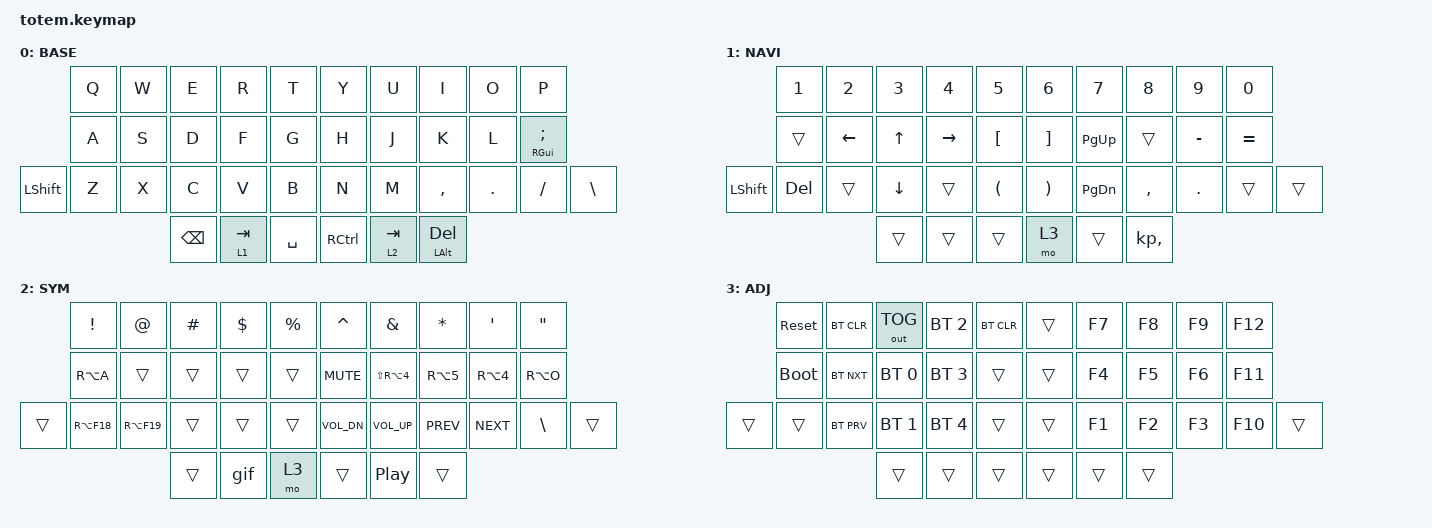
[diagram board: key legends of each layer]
//
//                                                        ▀▀▀▀▀     ▀▀▀▀▀          ▀▀█▀▀
//                                                        ▄▀▀▀▄  ▄  ▄▀▀▀▄  ▄  ▄▀▀▀▄  █  ▄▀▀▀▄
//                                                        █   █  █  █   █  █  █   █  █  █   █
//                                                         ▀▀▀   █   ▀▀▀   █   ▀▀▀   ▀   ▀▀▀
//                                                               █      ▄▄▄█▄▄▄    █   █  
//                                                               ▀      █  █  █     █▄█
//                                                             ▀▀▀▀▀    █  █  █      ▀
//                                                                      ▀  ▀  ▀
//
// ▄▄▄▄▄▄▄▄▄▄▄▄▄▄▄▄▄▄▄▄▄▄▄▄▄▄▄▄▄▄▄▄▄▄▄▄▄▄▄▄▄▄▄▄▄▄▄▄▄▄▄▄▄▄▄▄▄▄▄▄▄▄▄▄▄▄▄▄▄▄▄▄▄▄▄▄▄▄▄▄▄▄▄▄▄▄▄▄▄▄▄▄▄▄▄▄▄▄▄▄▄▄▄▄▄▄▄▄▄▄▄▄▄▄▄▄▄▄▄▄▄▄▄▄▄▄▄▄▄▄▄▄▄▄▄▄▄▄▄▄▄▄▄▄▄▄▄▄▄

#include <behaviors.dtsi>
#include <dt-bindings/zmk/bt.h>
#include <dt-bindings/zmk/keys.h>
#include <dt-bindings/zmk/outputs.h>

#define BASE 0
#define NAV  1
#define SYM  2
#define ADJ  3
#define TVP1 4
#define TVP2 5

&mt {
    quick-tap-ms = <100>;
    global-quick-tap;
    flavor = "tap-preferred";
    tapping-term-ms = <170>;
};

/ {
    combos {
        compatible = "zmk,combos";

        combo_esc {
            timeout-ms = <50>;
            key-positions = <0 1>;
            bindings = <&kp ESC>;
        };

        combo_tvp {
            timeout-ms = <100>;
            key-positions = <11 12 13>;
            bindings = <&tog 0>;
        };

        enter_combo {
            bindings = <&kp ENTER>;
            key-positions = <16 17 18>;
            timeout-ms = <60>;
            layers = <0>;
        };

        hyphen {
            bindings = <&kp MINUS>;
            key-positions = <19 31>;
        };

        crtl-right {
            bindings = <&kp LCTRL>;
            key-positions = <16 17>;
        };

        crtl-left {
            bindings = <&kp LCTRL>;
            key-positions = <10 11>;
        };

        alt-left {
            bindings = <&kp LEFT_ALT>;
            key-positions = <11 12>;
        };

        alt-right {
            bindings = <&kp LEFT_ALT>;
            key-positions = <17 18>;
        };

        win-left {
            bindings = <&kp LEFT_COMMAND>;
            key-positions = <13 12>;
        };

        win-right {
            bindings = <&kp LEFT_COMMAND>;
            key-positions = <19 18>;
        };
    };

    macros {
        gif: gif {
            label = "giphy";
            compatible = "zmk,behavior-macro";
            #binding-cells = <0>;
            bindings =
                <&macro_press>,
                <&kp LSHFT>,
                <&macro_tap>,
                <&kp N2>,
                <&macro_release>,
                <&kp LSHFT>,
                <&macro_tap>,
                <&kp G &kp I &kp F>;
        };
    };

    keymap {
        compatible = "zmk,keymap";

        // ▄▄▄▄▄▄▄▄▄▄▄▄▄▄▄▄▄▄▄▄▄▄▄▄▄▄▄▄▄▄▄▄▄▄▄▄▄▄▄▄▄▄▄▄▄▄▄▄▄▄▄▄▄▄▄▄▄▄▄▄▄▄▄▄▄▄▄▄▄▄▄▄▄▄▄▄▄▄▄▄▄▄▄▄▄▄▄▄▄▄▄▄▄▄▄▄▄▄▄▄▄▄▄▄▄▄▄▄▄▄▄▄▄▄▄▄▄▄▄▄▄▄▄▄▄▄▄▄▄▄▄▄▄▄▄▄▄▄▄▄▄▄▄▄▄▄▄▄▄

        base_layer {
            // ┏━━━━━━━━━━━━━━━━━━━━━━━━━━━━━━━━━━━━━━━┓

            label = "BASE";

            // ┗━━━━━━━━━━━━━━━━━━━━━━━━━━━━━━━━━━━━━━━┛
            //             ┏━━━━━━━━━━━┳━━━━━━━━━━━┳━━━━━━━━━━━┳━━━━━━━━━━━┳━━━━━━━━━━━┓   ┏━━━━━━━━━━━┳━━━━━━━━━━━┳━━━━━━━━━━━┳━━━━━━━━━━━┳━━━━━━━━━━━┓
            //             ┃     Q     ┃     W     ┃     F     ┃     P     ┃     G     ┃   ┃     J     ┃     L     ┃     U     ┃     Y     ┃     ;     ┃
            //             ┣━━━━━━━━━━━╋━━━━━━━━━━━╋━━━━━━━━━━━╋━━━━━━━━━━━╋━━━━━━━━━━━┫   ┣━━━━━━━━━━━╋━━━━━━━━━━━╋━━━━━━━━━━━╋━━━━━━━━━━━╋━━━━━━━━━━━┫
            //             ┃     A     ┃     R     ┃     S     ┃     T     ┃     D     ┃   ┃     H     ┃     N     ┃     E     ┃     I     ┃     O     ┃
            // ┏━━━━━━━━━━━╋━━━━━━━━━━━╋━━━━━━━━━━━╋━━━━━━━━━━━╋━━━━━━━━━━━╋━━━━━━━━━━━┫   ┣━━━━━━━━━━━╋━━━━━━━━━━━╋━━━━━━━━━━━╋━━━━━━━━━━━╋━━━━━━━━━━━╋━━━━━━━━━━━┓
            // ┃     Q     ┃     Z     ┃     X     ┃     C     ┃     V     ┃     B     ┃   ┃     K     ┃     M     ┃     ,     ┃     .     ┃     /     ┃     \     ┃
            // ┗━━━━━━━━━━━┻━━━━━━━━━━━┻━━━━━━━━━━━╋━━━━━━━━━━━╋━━━━━━━━━━━╋━━━━━━━━━━━┫   ┣━━━━━━━━━━━╋━━━━━━━━━━━╋━━━━━━━━━━━╋━━━━━━━━━━━┻━━━━━━━━━━━┻━━━━━━━━━━━┛
            //                                     ┃    DEL    ┃    TAB    ┃    SPC    ┃   ┃   ENTER   ┃           ┃   BSPC    ┃
            //                                     ┗━━━━━━━━━━━┻━━━━━━━━━━━┻━━━━━━━━━━━┛   ┗━━━━━━━━━━━┻━━━━━━━━━━━┻━━━━━━━━━━━┛

            bindings = <
                &kp Q  &kp W  &kp E          &kp R      &kp T        &kp Y      &kp U      &kp I                &kp O    &kp P
                &kp A  &kp S  &kp D          &kp F      &kp G        &kp H      &kp J      &kp K                &kp L    &mt RGUI SEMICOLON
&kp LEFT_SHIFT  &kp Z  &kp X  &kp C          &kp V      &kp B        &kp N      &kp M      &kp COMMA            &kp DOT  &kp FSLH            &kp BSLH
                              &kp BACKSPACE  &lt 1 TAB  &kp SPACE    &kp RCTRL  &lt 2 TAB  &mt LEFT_ALT DELETE
            >;
        };

        // ▄▄▄▄▄▄▄▄▄▄▄▄▄▄▄▄▄▄▄▄▄▄▄▄▄▄▄▄▄▄▄▄▄▄▄▄▄▄▄▄▄▄▄▄▄▄▄▄▄▄▄▄▄▄▄▄▄▄▄▄▄▄▄▄▄▄▄▄▄▄▄▄▄▄▄▄▄▄▄▄▄▄▄▄▄▄▄▄▄▄▄▄▄▄▄▄▄▄▄▄▄▄▄▄▄▄▄▄▄▄▄▄▄▄▄▄▄▄▄▄▄▄▄▄▄▄▄▄▄▄▄▄▄▄▄▄▄▄▄▄▄▄▄▄▄▄▄▄▄

        nav_layer {
            // ┏━━━━━━━━━━━━━━━━━━━━━━━━━━━━━━━━━━━━━━━┓

            label = "NAVI";

            // ┗━━━━━━━━━━━━━━━━━━━━━━━━━━━━━━━━━━━━━━━┛
            //             ┏━━━━━━━━━━━┳━━━━━━━━━━━┳━━━━━━━━━━━┳━━━━━━━━━━━┳━━━━━━━━━━━┓   ┏━━━━━━━━━━━┳━━━━━━━━━━━┳━━━━━━━━━━━┳━━━━━━━━━━━┳━━━━━━━━━━━┓
            //             ┃           ┃           ┃     UP    ┃           ┃     {     ┃   ┃     }     ┃     7     ┃     8     ┃     9     ┃     +     ┃
            //             ┣━━━━━━━━━━━╋━━━━━━━━━━━╋━━━━━━━━━━━╋━━━━━━━━━━━╋━━━━━━━━━━━┫   ┣━━━━━━━━━━━╋━━━━━━━━━━━╋━━━━━━━━━━━╋━━━━━━━━━━━╋━━━━━━━━━━━┫
            //             ┃   SHIFT   ┃   LEFT    ┃    DOWN   ┃   RIGHT   ┃     [     ┃   ┃     ]     ┃     4     ┃     5     ┃     6     ┃     -     ┃
            // ┏━━━━━━━━━━━╋━━━━━━━━━━━╋━━━━━━━━━━━╋━━━━━━━━━━━╋━━━━━━━━━━━╋━━━━━━━━━━━┫   ┣━━━━━━━━━━━╋━━━━━━━━━━━╋━━━━━━━━━━━╋━━━━━━━━━━━╋━━━━━━━━━━━╋━━━━━━━━━━━┓
            // ┃           ┃           ┃   P UP    ┃  C LOCK   ┃  P DOWN   ┃     (     ┃   ┃     )     ┃     1     ┃     2     ┃     3     ┃     *     ┃           ┃
            // ┗━━━━━━━━━━━┻━━━━━━━━━━━┻━━━━━━━━━━━╋━━━━━━━━━━━╋━━━━━━━━━━━╋━━━━━━━━━━━┫   ┣━━━━━━━━━━━╋━━━━━━━━━━━╋━━━━━━━━━━━╋━━━━━━━━━━━┻━━━━━━━━━━━┻━━━━━━━━━━━┛
            //                                     ┃           ┃    TAB    ┃    SPC    ┃   ┃    DEL    ┃     0     ┃           ┃
            //                                     ┗━━━━━━━━━━━┻━━━━━━━━━━━┻━━━━━━━━━━━┛   ┗━━━━━━━━━━━┻━━━━━━━━━━━┻━━━━━━━━━━━┛

            bindings = <
                &kp NUMBER_1  &kp NUMBER_2  &kp NUMBER_3  &kp NUMBER_4  &kp N5      &kp NUMBER_6  &kp N7         &kp N8        &kp N9      &kp N0
                &trans        &kp LEFT      &kp UP_ARROW  &kp RIGHT     &kp LBKT    &kp RBKT      &kp PG_UP      &trans        &kp MINUS   &kp EQUAL
&kp LEFT_SHIFT  &kp DEL       &trans        &kp DOWN      &trans        &kp LPAR    &kp RPAR      &kp PAGE_DOWN  &kp COMMA     &kp PERIOD  &trans     &trans
                                            &trans        &trans        &trans      &mo 3         &trans         &kp KP_COMMA
            >;
        };

        // ▄▄▄▄▄▄▄▄▄▄▄▄▄▄▄▄▄▄▄▄▄▄▄▄▄▄▄▄▄▄▄▄▄▄▄▄▄▄▄▄▄▄▄▄▄▄▄▄▄▄▄▄▄▄▄▄▄▄▄▄▄▄▄▄▄▄▄▄▄▄▄▄▄▄▄▄▄▄▄▄▄▄▄▄▄▄▄▄▄▄▄▄▄▄▄▄▄▄▄▄▄▄▄▄▄▄▄▄▄▄▄▄▄▄▄▄▄▄▄▄▄▄▄▄▄▄▄▄▄▄▄▄▄▄▄▄▄▄▄▄▄▄▄▄▄▄▄▄▄

        sim_layer {
            // ┏━━━━━━━━━━━━━━━━━━━━━━━━━━━━━━━━━━━━━━━┓

            label = "SYM";

            // ┗━━━━━━━━━━━━━━━━━━━━━━━━━━━━━━━━━━━━━━━┛
            //             ┏━━━━━━━━━━━┳━━━━━━━━━━━┳━━━━━━━━━━━┳━━━━━━━━━━━┳━━━━━━━━━━━┓   ┏━━━━━━━━━━━┳━━━━━━━━━━━┳━━━━━━━━━━━┳━━━━━━━━━━━┳━━━━━━━━━━━┓
            //             ┃     !     ┃     @     ┃     #     ┃     $     ┃     %     ┃   ┃     ˆ     ┃     &     ┃     Ü     ┃     '     ┃     "     ┃
            //             ┣━━━━━━━━━━━╋━━━━━━━━━━━╋━━━━━━━━━━━╋━━━━━━━━━━━╋━━━━━━━━━━━┫   ┣━━━━━━━━━━━╋━━━━━━━━━━━╋━━━━━━━━━━━╋━━━━━━━━━━━╋━━━━━━━━━━━┫
            //             ┃     Ä     ┃           ┃    SZ     ┃           ┃           ┃   ┃   MUTE    ┃   YEN     ┃   EURO    ┃  POUND    ┃     Ö     ┃
            // ┏━━━━━━━━━━━╋━━━━━━━━━━━╋━━━━━━━━━━━╋━━━━━━━━━━━╋━━━━━━━━━━━╋━━━━━━━━━━━┫   ┣━━━━━━━━━━━╋━━━━━━━━━━━╋━━━━━━━━━━━╋━━━━━━━━━━━╋━━━━━━━━━━━╋━━━━━━━━━━━┓
            // ┃           ┃  EMAIL1   ┃  EMAIL2   ┃           ┃           ┃           ┃   ┃   VOL-    ┃   VOL+    ┃   LAST    ┃   NEXT    ┃     \     ┃           ┃
            // ┗━━━━━━━━━━━┻━━━━━━━━━━━┻━━━━━━━━━━━╋━━━━━━━━━━━╋━━━━━━━━━━━╋━━━━━━━━━━━┫   ┣━━━━━━━━━━━╋━━━━━━━━━━━╋━━━━━━━━━━━╋━━━━━━━━━━━┻━━━━━━━━━━━┻━━━━━━━━━━━┛
            //                                     ┃           ┃    GIF    ┃    ADJ    ┃   ┃           ┃           ┃           ┃
            //                                     ┗━━━━━━━━━━━┻━━━━━━━━━━━┻━━━━━━━━━━━┛   ┗━━━━━━━━━━━┻━━━━━━━━━━━┻━━━━━━━━━━━┛

            bindings = <
        &kp EXCL     &kp AT       &kp HASH  &kp DLLR  &kp PRCNT    &kp CARET     &kp AMPS        &kp ASTERISK  &kp SQT     &kp DQT
        &kp RA(A)    &trans       &trans    &trans    &trans       &kp C_MUTE    &kp LS(RA(N4))  &kp RA(N5)    &kp RA(N4)  &kp RA(O)
&trans  &kp RA(F18)  &kp RA(F19)  &trans    &trans    &trans       &kp C_VOL_DN  &kp C_VOL_UP    &kp C_PREV    &kp C_NEXT  &kp BSLH   &trans
                                  &trans    &gif      &mo 3        &trans        &kp C_PP        &trans
            >;
        };

        // ▄▄▄▄▄▄▄▄▄▄▄▄▄▄▄▄▄▄▄▄▄▄▄▄▄▄▄▄▄▄▄▄▄▄▄▄▄▄▄▄▄▄▄▄▄▄▄▄▄▄▄▄▄▄▄▄▄▄▄▄▄▄▄▄▄▄▄▄▄▄▄▄▄▄▄▄▄▄▄▄▄▄▄▄▄▄▄▄▄▄▄▄▄▄▄▄▄▄▄▄▄▄▄▄▄▄▄▄▄▄▄▄▄▄▄▄▄▄▄▄▄▄▄▄▄▄▄▄▄▄▄▄▄▄▄▄▄▄▄▄▄▄▄▄▄▄▄▄▄

        adjust_layer {
            // ┏━━━━━━━━━━━━━━━━━━━━━━━━━━━━━━━━━━━━━━━┓

            label = "ADJ";

            // ┗━━━━━━━━━━━━━━━━━━━━━━━━━━━━━━━━━━━━━━━┛
            //             ┏━━━━━━━━━━━┳━━━━━━━━━━━┳━━━━━━━━━━━┳━━━━━━━━━━━┳━━━━━━━━━━━┓   ┏━━━━━━━━━━━┳━━━━━━━━━━━┳━━━━━━━━━━━┳━━━━━━━━━━━┳━━━━━━━━━━━┓
            //             ┃   RESET   ┃ BT CLEAR  ┃  OUT TOG  ┃           ┃           ┃   ┃           ┃    F7     ┃    F8     ┃    F9     ┃    F12    ┃
            //             ┣━━━━━━━━━━━╋━━━━━━━━━━━╋━━━━━━━━━━━╋━━━━━━━━━━━╋━━━━━━━━━━━┫   ┣━━━━━━━━━━━╋━━━━━━━━━━━╋━━━━━━━━━━━╋━━━━━━━━━━━╋━━━━━━━━━━━┫
            //             ┃ BOOTLOAD  ┃ BT NEXT   ┃           ┃           ┃           ┃   ┃           ┃    F4     ┃    F5     ┃    F6     ┃    F11    ┃
            // ┏━━━━━━━━━━━╋━━━━━━━━━━━╋━━━━━━━━━━━╋━━━━━━━━━━━╋━━━━━━━━━━━╋━━━━━━━━━━━┫   ┣━━━━━━━━━━━╋━━━━━━━━━━━╋━━━━━━━━━━━╋━━━━━━━━━━━╋━━━━━━━━━━━╋━━━━━━━━━━━┓
            // ┃           ┃           ┃ BT PREV   ┃           ┃           ┃           ┃   ┃           ┃    F1     ┃    F2     ┃    F3     ┃    F10    ┃           ┃
            // ┗━━━━━━━━━━━┻━━━━━━━━━━━┻━━━━━━━━━━━╋━━━━━━━━━━━╋━━━━━━━━━━━╋━━━━━━━━━━━┫   ┣━━━━━━━━━━━╋━━━━━━━━━━━╋━━━━━━━━━━━╋━━━━━━━━━━━┻━━━━━━━━━━━┻━━━━━━━━━━━┛
            //                                     ┃           ┃           ┃           ┃   ┃           ┃           ┃           ┃
            //                                     ┗━━━━━━━━━━━┻━━━━━━━━━━━┻━━━━━━━━━━━┛   ┗━━━━━━━━━━━┻━━━━━━━━━━━┻━━━━━━━━━━━┛

            bindings = <
        &sys_reset   &bt BT_CLR  &out OUT_TOG  &bt BT_SEL 2  &bt BT_CLR    &trans  &kp F7  &kp F8  &kp F9  &kp F12
        &bootloader  &bt BT_NXT  &bt BT_SEL 0  &bt BT_SEL 3  &trans        &trans  &kp F4  &kp F5  &kp F6  &kp F11
&trans  &trans       &bt BT_PRV  &bt BT_SEL 1  &bt BT_SEL 4  &trans        &trans  &kp F1  &kp F2  &kp F3  &kp F10  &trans
                                 &trans        &trans        &trans        &trans  &trans  &trans
            >;
        };

        // ▄▄▄▄▄▄▄▄▄▄▄▄▄▄▄▄▄▄▄▄▄▄▄▄▄▄▄▄▄▄▄▄▄▄▄▄▄▄▄▄▄▄▄▄▄▄▄▄▄▄▄▄▄▄▄▄▄▄▄▄▄▄▄▄▄▄▄▄▄▄▄▄▄▄▄▄▄▄▄▄▄▄▄▄▄▄▄▄▄▄▄▄▄▄▄▄▄▄▄▄▄▄▄▄▄▄▄▄▄▄▄▄▄▄▄▄▄▄▄▄▄▄▄▄▄▄▄▄▄▄▄▄▄▄▄▄▄▄▄▄▄▄▄▄▄▄▄▄▄
        // ▄▄▄▄▄▄▄▄▄▄▄▄▄▄▄▄▄▄▄▄▄▄▄▄▄▄▄▄▄▄▄▄▄▄▄▄▄▄▄▄▄▄▄▄▄▄▄▄▄▄▄▄▄▄▄▄▄▄▄▄▄▄▄▄▄▄▄▄▄▄▄▄▄▄▄▄▄▄▄▄▄▄▄▄▄▄▄▄▄▄▄▄▄▄▄▄▄▄▄▄▄▄▄▄▄▄▄▄▄▄▄▄▄▄▄▄▄▄▄▄▄▄▄▄▄▄▄▄▄▄▄▄▄▄▄▄▄▄▄▄▄▄▄▄▄▄▄▄▄
    };
};
